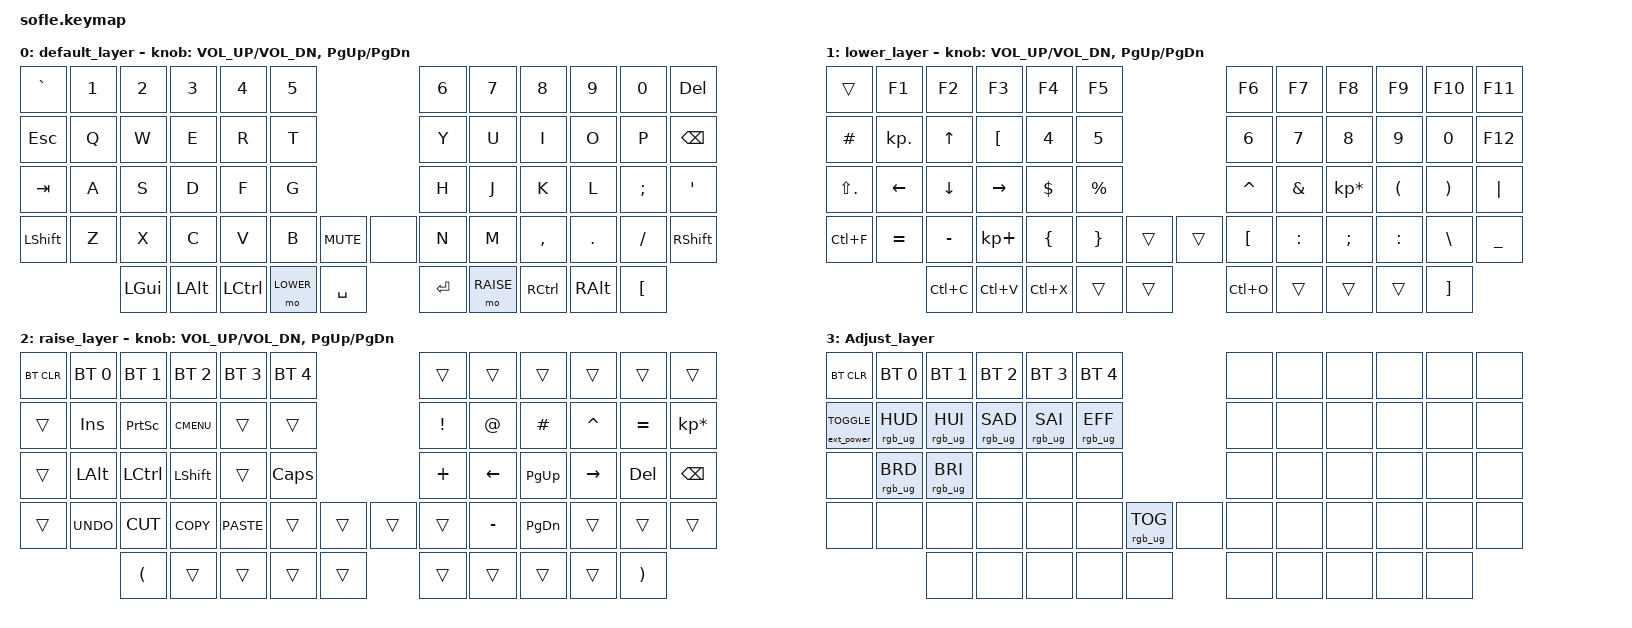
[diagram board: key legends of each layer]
/*
 * Copyright (c) 2020 The ZMK Contributors
 *
 * SPDX-License-Identifier: MIT
 */

#include <behaviors.dtsi>
#include <dt-bindings/zmk/keys.h>
#include <dt-bindings/zmk/bt.h>
#include <dt-bindings/zmk/rgb.h>
#include <dt-bindings/zmk/ext_power.h>

#define BASE 0
#define LOWER 1
#define RAISE 2
#define ADJUST 3

/ {

   // Activate ADJUST layer by pressing raise and lower
    conditional_layers {
        compatible = "zmk,conditional-layers";
        adjust_layer {
            if-layers = <LOWER RAISE>;
            then-layer = <ADJUST>;
        };
    };

    keymap {
        compatible = "zmk,keymap";

        default_layer {
// ------------------------------------------------------------------------------------------------------------
// |  `    |  1  |  2  |  3   |  4   |  5   |                   |  6   |  7    |  8    |  9   |   0   |  DEL  |
// |  ESC  |  Q  |  W  |  E   |  R   |  T   |                   |  Y   |  U    |  I    |  O   |   P   | BKSPC |
// |  TAB  |  A  |  S  |  D   |  F   |  G   |                   |  H   |  J    |  K    |  L   |   ;   |   '   |
// | SHIFT |  Z  |  X  |  C   |  V   |  B   |  MUTE  |  |       |  N   |  M    |  ,    |  .   |   /   | SHIFT |
//               | GUI | ALT  | CTRL | LOWER|  ENTER |  | SPACE | RAISE| CTRL  | ALT   | [ |
            bindings = <
&kp GRAVE &kp N1 &kp N2   &kp N3   &kp N4    &kp N5                      &kp N6 &kp N7    &kp N8    &kp N9   &kp N0   &kp DEL
&kp ESC   &kp Q  &kp W    &kp E    &kp R     &kp T                       &kp Y  &kp U     &kp I     &kp O    &kp P    &kp BSPC
&kp TAB   &kp A  &kp S    &kp D    &kp F     &kp G                       &kp H  &kp J     &kp K     &kp L    &kp SEMI &kp SQT
&kp LSHFT &kp Z  &kp X    &kp C    &kp V     &kp B  &kp C_MUTE &none     &kp N  &kp M     &kp COMMA &kp DOT  &kp FSLH &kp RSHFT
                  &kp LGUI &kp LALT &kp LCTRL &mo LOWER  &kp SPACE    &kp RET &mo RAISE  &kp RCTRL &kp RALT  &kp LBKT
            >;

            sensor-bindings = <&inc_dec_kp C_VOL_UP C_VOL_DN &inc_dec_kp PG_UP PG_DN>;
        };

        lower_layer {
// TODO: Some binds are waiting for shifted keycode support.
// ------------------------------------------------------------------------------------------------------------
// |       |  F1 |  F2 |  F3  |  F4  |  F5  |                   |  F6  |  F7   |  F8   |  F9  |  F10  |  F11  |
// | #     |   . |   ^ |   :  |   4  |   5  |                   |   6  |   7   |   8   |   9  |    0  |  F12  |
// |  TABD | <-  |  v  |  ->  |  $   |  %   |                   |  ^   |  &    |  *    |  (   |   )   |   |   |
// |  FIND |  =  |  -  |  +   |  {   |  }   |          |  |     |  [   |  ]    |  ;    |  :   |   \   |   _   |
//              |  COPY | PASTE | CUT |       |        |  |     | BACK |       |       |   ]   |
            bindings = <
&trans    &kp F1     &kp F2          &kp F3      &kp F4    &kp F5                    &kp F6    &kp F7   &kp F8          &kp F9    &kp F10   &kp F11
&kp HASH  &kp KP_DOT   &kp UP     &kp LBKT    &kp N4    &kp N5                    &kp N6    &kp N7   &kp N8          &kp N9    &kp N0    &kp F12
&kp LS(DOT)    &kp LEFT  &kp DOWN      &kp RIGHT   &kp DLLR  &kp PRCNT                 &kp CARET &kp AMPS &kp KP_MULTIPLY &kp LPAR  &kp RPAR  &kp PIPE
&kp LC(F) &kp EQUAL  &kp MINUS       &kp KP_PLUS &kp LBRC  &kp RBRC  &trans    &trans &kp LBKT  &kp COLON &kp SEMI        &kp COLON &kp BSLH  &kp UNDER
                     &kp LC(C)       &kp LC(V)   &kp LC(X)    &trans    &trans   &kp LC(O) &trans    &trans   &trans          &kp RBKT 
            >;

            sensor-bindings = <&inc_dec_kp C_VOL_UP C_VOL_DN &inc_dec_kp PG_UP PG_DN>;
        };

        raise_layer {
// ------------------------------------------------------------------------------------------------------------
// |BTCLR| BT1  | BT2  |  BT3  |  BT4  |  BT5 |                |      |      |          |      |       |       |
// |     | INS  | PSCR | GUI   |       |      |                | !    |   @  |   #      |  ;   |   =   |   *   |
// |     | ALT  | CTRL | SHIFT |       | CAPS |                |  +   |   <- |   PGUP   |  ->  |  DEL  | BKSPC |
// |     | UNDO | CUT  | COPY  | PASTE |      |      |  |      |      |  -   |   PGDN   |      |       |       |
//              |   (  |       |       |      |      |  |      |      |      |          |  )   |
            bindings = <
&bt BT_CLR &bt BT_SEL 0 &bt BT_SEL 1 &bt BT_SEL 2 &bt BT_SEL 3 &bt BT_SEL 4             &trans    &trans    &trans       &trans      &trans  &trans
&trans     &kp INS      &kp PSCRN    &kp K_CMENU  &trans       &trans                   &kp EXCL  &kp AT    &kp HASH      &kp CARET  &kp EQUAL  &kp KP_MULTIPLY
&trans     &kp LALT     &kp LCTRL    &kp LSHFT    &trans       &kp CLCK                 &kp PLUS    &kp LEFT  &kp PG_UP     &kp RIGHT  &kp DEL &kp BSPC
&trans     &kp K_UNDO   &kp K_CUT    &kp K_COPY   &kp K_PASTE  &trans  &trans   &trans  &trans    &kp MINUS &kp PG_DN   &trans     &trans  &trans
                        &kp LPAR       &trans       &trans       &trans  &trans   &trans  &trans    &trans    &trans   &kp RPAR
            >;

            sensor-bindings = <&inc_dec_kp C_VOL_UP C_VOL_DN &inc_dec_kp PG_UP PG_DN>;
        };

// ------------------------------------------------------------------------------------------------------------
// |BTCLR | BT1   | BT2   |  BT3  |  BT4  |  BT5  |                |      |      |       |      |       |       |
// |EXTPWR|RGB_HUD|RGB_HUI|RGB_SAD|RGB_SAI|RGB_EFF|                |      |      |       |      |       |       |
// |      |RGB_BRD|RGB_BRI|       |       |       |                |      |      |       |      |       |       |
// |      |       |       |       |       |       |RGB_TOG| |      |      |      |       |      |       |       |
//                |       |       |       |       |       | |      |      |      |       |      |

        Adjust_layer {
        bindings = <
&bt BT_CLR                      &bt BT_SEL 0    &bt BT_SEL 1    &bt BT_SEL 2    &bt BT_SEL 3    &bt BT_SEL 4                                    &none &none &none &none &none &none
&ext_power EXT_POWER_TOGGLE_CMD &rgb_ug RGB_HUD &rgb_ug RGB_HUI &rgb_ug RGB_SAD &rgb_ug RGB_SAI &rgb_ug RGB_EFF                                 &none &none &none &none &none &none
&none                           &rgb_ug RGB_BRD &rgb_ug RGB_BRI &none           &none           &none                                           &none &none &none &none &none &none
&none                           &none           &none           &none           &none           &none               &rgb_ug RGB_TOG  &none      &none &none &none &none &none &none
                                                &none           &none           &none           &none               &none            &none      &none &none &none &none
        >;
        };

    };
};
